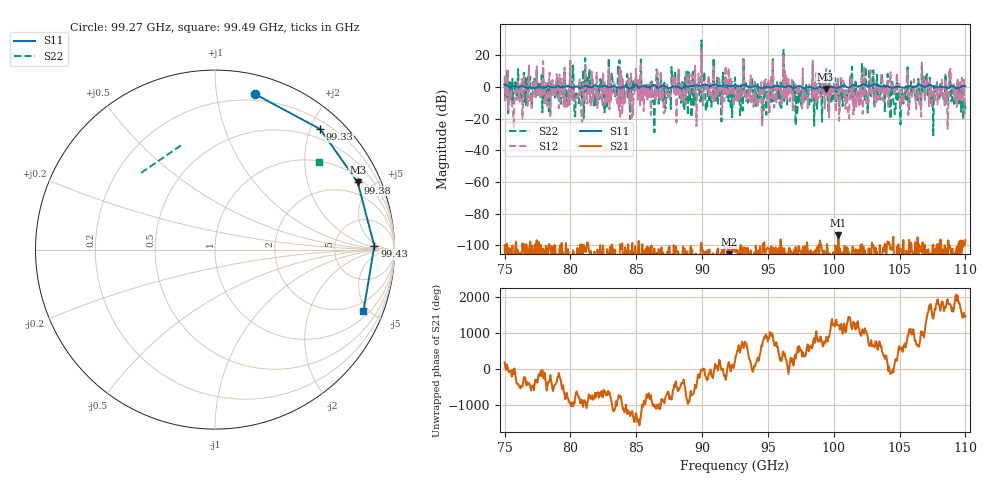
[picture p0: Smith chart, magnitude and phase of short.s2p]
!Created with skrf (http://scikit-rf.org).
# GHz S RI R 50.0
!freq ReS11 ImS11 ReS21 ImS21 ReS12 ImS12 ReS22 ImS22
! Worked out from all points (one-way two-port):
!   647 points, 75 GHz to 110 GHz, reference 50 ohm
!   highest |S21| = -93.36 dB at 100.4 GHz (marker M1); lowest = -131.9 dB at 92.07 GHz (marker M2)
!   lowest |S11| = -1.1 dB at 99.38 GHz (marker M3), VSWR 15.49, Z = 62.5 + j205 ohm
!   |S11| at or under -10 dB: nowhere
!   |S22| runs from -30.5 to 29.5 dB; largest |S21 - S12| = 15
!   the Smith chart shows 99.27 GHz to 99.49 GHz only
!   S11 on the Smith chart (normalised r, x): 99.27 GHz: 0.15, +1.28; 99.33 GHz: 0.33, +2.16; 99.38 GHz: 1.25, +4.11; 99.43 GHz: 16, +3; 99.49 GHz: 1.34, -4.65
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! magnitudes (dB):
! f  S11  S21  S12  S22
! 75 GHz  1.7  -99.8  7.3  2.5
! 75.55 GHz  0.3  -106.1  -10.8  -8.3
! 76.14 GHz  0.3  -127.9  -9.0  -2.4
! 80.85 GHz  -0.4  -99.4  -21.0  -8.3
! 82.7 GHz  0.7  -112.1  -11.1  1.2
! 83.78 GHz  -0.6  -99.3  -20.0  -8.3
! 86.33 GHz  1.3  -104.6  -6.3  -10.2
! 86.7 GHz  -0.3  -102.3  0.3  -10.5
! 92.07 GHz  0.6  -131.9  -4.0  -2.4
! 92.5 GHz  1.2  -104.2  -1.6  6.1
! 98.35 GHz  -0.4  -111.3  -8.5  -1.9
! 99.27 GHz  -1.0  -103.3  -0.6  5.2
! 99.33 GHz  -1.0  -104.5  -13.7  -4.5
! 99.38 GHz  -1.1  -110.5  1.6  -4.3
! 99.43 GHz  -1.0  -110.9  11.5  8.8
! 99.49 GHz  -1.0  -99.2  -5.5  -2.4
! 100.4 GHz  -0.4  -93.4  -2.6  -4.3
! 104.2 GHz  0.0  -97.9  -3.5  -1.1
! 106.9 GHz  0.1  -108.5  6.7  5.1
! 108.5 GHz  0.1  -107.2  -6.4  2.1
! 108.9 GHz  0.7  -106.7  3.2  -8.9
! 110 GHz  0.6  -96.6  -16.2  -14.1
